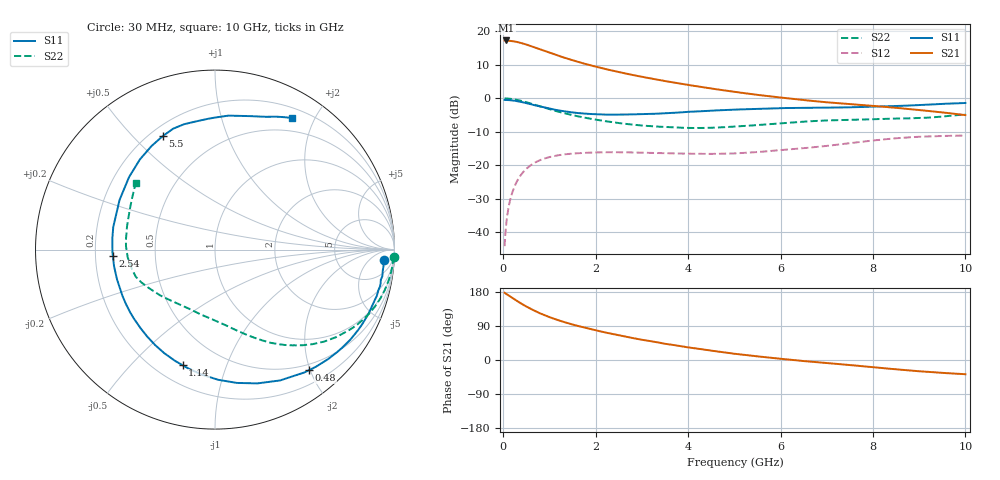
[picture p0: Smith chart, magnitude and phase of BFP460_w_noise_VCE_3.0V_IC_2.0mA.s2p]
! (c) 2016  Infineon Technologies AG, Munich
! Infineon Technologies  Discrete & RF Semiconductors
! BFP460
! VCE =  3.0 V,  IC =  2.0 mA
! Common Emitter S-Parameters:  Jan 2016
# GHz  S  MA  R  50
!  f  S11  S21  S12  S22
! GHz  MAG  ANG  MAG  ANG  MAG  ANG  MAG  ANG
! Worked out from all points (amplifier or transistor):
!   229 points, 30 MHz to 10 GHz, reference 50 ohm
!   highest |S21| = 17.2 dB at 70 MHz (marker M1)
!   |S21| within 3 dB of that: start of sweep to 872.5 MHz
!   unconditionally stable (mu >= 1): 3.853 GHz to 7.859 GHz
!   at 280 MHz: K = 0.09, MSG = 21.1 dB, |S12| = -25.3 dB
!   at 1.78 GHz: K = 0.51, MSG = 13.3 dB, |S12| = -16.3 dB
!   at 10 GHz: K = 0.93, MSG = 3.0 dB, |S12| = -11.1 dB
!   lowest NFmin = 0.68 dB at 450 MHz
!   S11 on the Smith chart (normalised r, x): 30 MHz: 17, -17; 480 MHz: 0.40, -1.98; 1.14 GHz: 0.31, -0.71; 2.54 GHz: 0.27, -0.03; 5.5 GHz: 0.25, +0.61; 10 GHz: 0.32, +1.70
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0.03  0.9439 -3.4  7.276 177.5  0.0062 86.7  0.9964 -2.3
0.07  0.9428 -8.3  7.283 173.6  0.0144 85.4  0.9934 -4.7
0.08  0.944 -9.1  7.255 173.3  0.0164 84.8  0.9925 -5.4
0.14  0.9376 -16.0  7.216 168.3  0.0284 80.1  0.9843 -9.4
0.28  0.9096 -31.4  6.955 157.1  0.0545 71.0  0.9511 -18.4
0.4  0.877 -44.1  6.639 148.1  0.0743 63.8  0.9109 -25.5
0.48  0.8517 -52.1  6.392 142.5  0.0858 59.3  0.8806 -29.8
0.6  0.8144 -63.5  6.014 134.6  0.1007 53.2  0.8341 -35.7
0.74  0.7684 -75.6  5.557 126.4  0.1143 46.9  0.7783 -41.8
0.94  0.714 -91.5  4.965 116.1  0.1289 39.5  0.7063 -49.0
1.14  0.669 -105.6  4.439 107.2  0.1389 33.5  0.645 -55.1
1.4  0.6278 -122.1  3.875 97.1  0.1473 27.4  0.5799 -61.5
1.7  0.595 -138.7  3.364 87.1  0.1527 22.0  0.5229 -67.6
2.06  0.5735 -156.1  2.894 76.7  0.1556 17.2  0.4722 -74.1
2.54  0.57 -176.2  2.426 64.2  0.1561 12.6  0.4229 -82.6
3.4  0.5925 155.4  1.857 45.2  0.1518 8.6  0.3756 -98.7
4  0.6266 139.8  1.582 33.3  0.1487 8.3  0.3606 -110.9
5.1  0.6799 120.1  1.221 15.2  0.1514 12.5  0.3811 -133.5
5.5  0.6959 114.8  1.123 9.6  0.1573 14.2  0.3979 -140.1
6.8  0.7203 100.5  0.897 -5.9  0.1884 16.4  0.4589 -159.0
8.4  0.7615 78.0  0.73 -23.5  0.2493 10.2  0.4961 178.0
10  0.8494 59.6  0.56 -37.5  0.278 -1.6  0.5779 139.9
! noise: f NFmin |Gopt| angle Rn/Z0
0.45  0.68  0.58  19  0.26
0.9  0.74  0.54  38  0.26
1.9  1.17  0.35  94  0.17
3.5  1.69  0.37  -166  0.13
